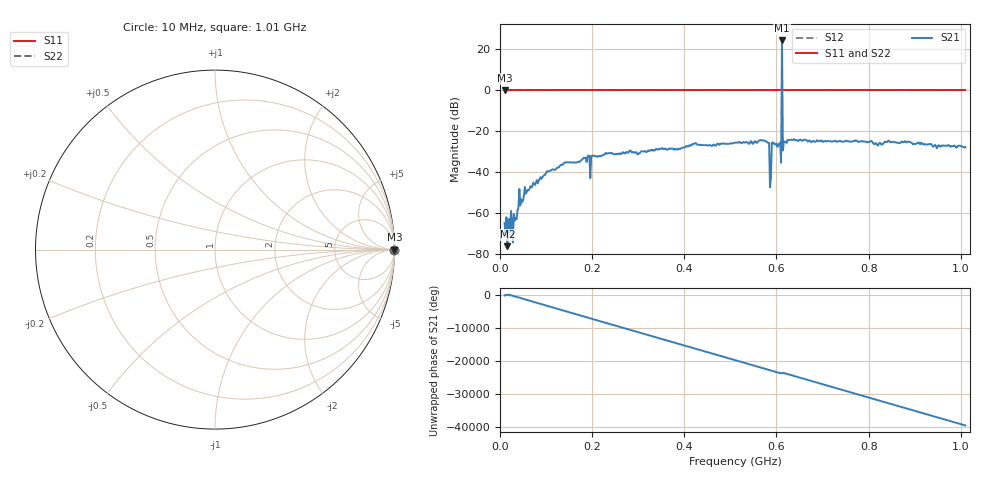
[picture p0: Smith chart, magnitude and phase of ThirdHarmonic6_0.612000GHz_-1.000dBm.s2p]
! 8/15/2025 8:04:33 PM
! C:\ANRITSUVNA\TEMP\TEMP.S2P
! CHANNEL.1
! TR.MEASUREMENT
! RAW.DATA
! RF.CORRECTION.OFF
! AVERAGING.OFF
! IF.BANDWIDTH: 5KHZ
! SWEEPTYPE:  FREQ.SWEEP(Linear)
! Reference Plane Port Info
! PORT:  PORT1  PORT2
! DISTANCE:  0  m  0  m
! TIME:  0  s  0  s
! PHASE.OFFSET:  0  deg.  0  deg.
! LOSS:  0  dB  0  dB
! REF.LOSS:  0  dB  0  dB
! REF.FREQ:  0  Hz  0  Hz
! Power Info
! POWER:  -20  dBm  -20  dBm
! EFF.POWER:  -20  dBm  -20  dBm
! SOURCE.ATTEN:  0  dB  0  dB
! TEST.ATTEN:  0  dB  0  dB
# GHZ S RI R 50.0
! FREQ.GHZ  S11RE  S11IM  S21RE  S21IM  S12RE  S12IM  S22RE  S22IM
!; PortSelection: Port_12
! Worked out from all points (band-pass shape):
!   501 points, 10 MHz to 1.01 GHz, reference 50 ohm
!   highest |S21| = 24.41 dB at 612 MHz (marker M1); lowest = -76.2 dB at 16 MHz (marker M2)
!   |S21| within 3 dB of the highest: 611.8997 MHz to 612.1114 MHz (211.7 kHz wide, 0.0346 % of centre)
!   lowest |S11| = 0.0 dB at 10 MHz (marker M3)
!   |S11| at or under -10 dB: nowhere
!   |S22| runs from 0.0 to 0.0 dB; largest |S21 - S12| = 17
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0.01  1 0  0.000271 -0.000497  1 0  1 0
0.016  1 0  -1.36e-05 0.000154  1 0  1 0
0.032  1 0  0.000604 -0.000257  1 0  1 0
0.042  1 0  0.00356 -0.00152  1 0  1 0
0.076  1 0  0.00487 -0.000132  1 0  1 0
0.178  1 0  -0.0201 -0.00136  1 0  1 0
0.344  1 0  0.0301 -0.0215  1 0  1 0
0.51  1 0  -0.0236 0.047  1 0  1 0
0.576  1 0  0.0478 -0.0291  1 0  1 0
0.58  1 0  -0.0528 0.0138  1 0  1 0
0.584  1 0  0.0513 0.00878  1 0  1 0
0.586  1 0  0.00376 -0.00204  1 0  1 0
0.59  1 0  -0.03 0.0428  1 0  1 0
0.594  1 0  0.041 -0.0311  1 0  1 0
0.606  1 0  -0.0411 -0.0282  1 0  1 0
0.608  1 0  -0.0345 0.04  1 0  1 0
0.612  1 0  -10.36 12.98  1 0  1 0
0.616  1 0  -0.0548 0.0157  1 0  1 0
0.618  1 0  0.00501 0.0541  1 0  1 0
0.678  1 0  -0.0566 0.000855  1 0  1 0
0.844  1 0  0.0454 -0.0377  1 0  1 0
1.01  1 0  -0.0134 0.0386  1 0  1 0
